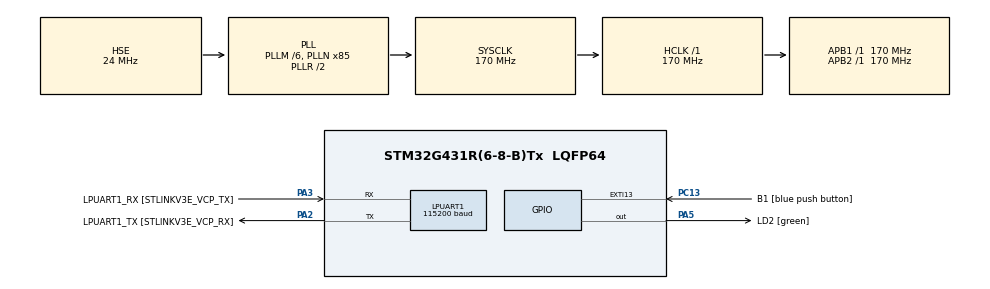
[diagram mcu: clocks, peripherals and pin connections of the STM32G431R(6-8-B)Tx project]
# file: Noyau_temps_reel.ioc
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FREERTOS.Tasks01=defaultTask,0,128,StartDefaultTask,Default,NULL,Dynamic,NULL,NULL
FREERTOS.configTOTAL_HEAP_SIZE=20000
FREERTOS.configUSE_NEWLIB_REENTRANT=1
LPUART1.BaudRate=115200
Mcu.Family=STM32G4
Mcu.Name=STM32G431R(6-8-B)Tx
Mcu.Package=LQFP64
NVIC.PriorityGroup=NVIC_PRIORITYGROUP_4
NVIC.TIM1_UP_TIM16_IRQn=true\:15\:0\:false\:false\:true\:false\:false\:true\:true
NVIC.TimeBase=TIM1_UP_TIM16_IRQn
NVIC.TimeBaseIP=TIM1
PA13.GPIO_Label=T_SWDIO
PA13.Mode=Trace_Asynchronous_SW
PA13.Signal=SYS_JTMS-SWDIO
PA14.GPIO_Label=T_SWCLK
PA14.Mode=Trace_Asynchronous_SW
PA14.Signal=SYS_JTCK-SWCLK
PA2.GPIO_Label=LPUART1_TX [STLINKV3E_VCP_RX]
PA2.Mode=Asynchronous
PA2.Signal=LPUART1_TX
PA3.GPIO_Label=LPUART1_RX [STLINKV3E_VCP_TX]
PA3.Mode=Asynchronous
PA3.Signal=LPUART1_RX
PA5.GPIO_Label=LD2 [green]
PA5.Signal=GPIO_Output
PB3.GPIO_Label=T_SWO
PB3.Mode=Trace_Asynchronous_SW
PB3.Signal=SYS_JTDO-SWO
PC13.GPIO_Label=B1 [blue push button]
PC13.Signal=GPXTI13
PC14-OSC32_IN.GPIO_Label=RCC_OSC32_OUT
PC14-OSC32_IN.Signal=RCC_OSC32_IN
PC15-OSC32_OUT.GPIO_Label=RCC_OSC32_OUT
PC15-OSC32_OUT.Signal=RCC_OSC32_OUT
PF0-OSC_IN.GPIO_Label=RCC_OSC_IN
PF0-OSC_IN.Mode=HSE-External-Oscillator
PF0-OSC_IN.Signal=RCC_OSC_IN
PF1-OSC_OUT.GPIO_Label=RCC_OSC_OUT
PF1-OSC_OUT.Mode=HSE-External-Oscillator
PF1-OSC_OUT.Signal=RCC_OSC_OUT
ProjectManager.HeapSize=0x200
ProjectManager.StackSize=0x400
ProjectManager.TargetToolchain=STM32CubeIDE
RCC.ADC12Freq_Value=170000000
RCC.AHBFreq_Value=170000000
RCC.APB1Freq_Value=170000000
RCC.APB1TimFreq_Value=170000000
RCC.APB2Freq_Value=170000000
RCC.APB2TimFreq_Value=170000000
RCC.CortexFreq_Value=170000000
RCC.EXTERNAL_CLOCK_VALUE=12288000
RCC.HCLKFreq_Value=170000000
RCC.HSE_VALUE=24000000
RCC.HSI48_VALUE=48000000
RCC.HSI_VALUE=16000000
RCC.LSE_VALUE=32768
RCC.PLLM=RCC_PLLM_DIV6
RCC.PLLN=85
RCC.PLLSourceVirtual=RCC_PLLSOURCE_HSE
RCC.RTCClockSelection=RCC_RTCCLKSOURCE_LSE
RCC.SYSCLKFreq_VALUE=170000000
RCC.SYSCLKSource=RCC_SYSCLKSOURCE_PLLCLK
RCC.USBFreq_Value=170000000
RCC.VCOOutputFreq_Value=340000000
VP_FREERTOS_VS_CMSIS_V1.Mode=CMSIS_V1
VP_SYS_VS_DBSignals.Mode=DisableDeadBatterySignals
VP_SYS_VS_tim1.Mode=TIM1
board=NUCLEO-G431RB

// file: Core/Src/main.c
/* USER CODE BEGIN Header */
/**
  ******************************************************************************
  * @file           : main.c
  * @brief          : Main program body
  ******************************************************************************
  * @attention
  *
  * Copyright (c) 2025 STMicroelectronics.
  * All rights reserved.
  *
  * This software is licensed under terms that can be found in the LICENSE file
  * in the root directory of this software component.
  * If no LICENSE file comes with this software, it is provided AS-IS.
  *
  ******************************************************************************
  */
/* USER CODE END Header */
#include "main.h"
#include "cmsis_os.h"
#include "usart.h"
#include "gpio.h"

/* USER CODE BEGIN Includes */
#include <stdio.h>
#include "FreeRTOS.h"
#include "task.h"
#include "queue.h"

/* USER CODE END Includes */

/* USER CODE BEGIN PV */
TaskHandle_t h_task_led;
BaseType_t ret;
//TaskHandle_t h_task_btn;
/* USER CODE END PV */

void SystemClock_Config(void);
void MX_FREERTOS_Init(void);

/* USER CODE BEGIN 0 */
//TaskHandle_t TaskTakeHandle;
//TaskHandle_t TaskGiveHandle;
SemaphoreHandle_t sem_handle;

int __io_putchar(int ch) {
	HAL_UART_Transmit(&hlpuart1, (uint8_t *)&ch, 1, HAL_MAX_DELAY);
	return ch;
}

void task_led(void * unused)
{
	for(;;)
	{
		HAL_GPIO_TogglePin(LD2_GPIO_Port, LD2_Pin);
		vTaskDelay(100);
	}
}

/*void taskGive(void * unused)
{
	uint8_t chr;
    static uint32_t delay = 100;

	for(;;)
	{
		printf("Task GIVE : je vais envoyer une notifiction \r\n");
        xTaskNotifyGive(TaskTakeHandle);
        printf("Task GIVE : je viens d'envoyer une notification \r\n");
		vTaskDelay(pdMS_TO_TICKS(delay));
	}
}

void taskTake(void * unused)
{
	uint8_t chr;
	uint32_t result;
	for(;;)
	{
		printf("Task TAKE : je vais recevoir une notification \r\n");
	    result = ulTaskNotifyTake(pdTRUE, pdMS_TO_TICKS(1000));
        if (result > 0)        {
			printf("Task TAKE : Je viens de recevoir une notification \r\n");
		}
        else
        {
        	printf("Semaphore non reçu en moins d'une seconde \r\n");
            NVIC_SystemReset();
        }
	}
}
*/
void task_bug(void * pvParameters)
{
	int delay = (int) pvParameters;
	for(;;)
	{
		sem_handle = xSemaphoreCreateBinary();
		xSemaphoreTake(sem_handle, 1000);
		printf("Je suis %s et je m'endors pour \%d ticks\r\n", pcTaskGetName(NULL), delay);
		vTaskDelay(delay);
		xSemaphoreGive(sem_handle);

	}
}

/* USER CODE END 0 */

int main(void)
{

  /* MCU Configuration--------------------------------------------------------*/

  /* Reset of all peripherals, Initializes the Flash interface and the Systick. */
  HAL_Init();

  /* USER CODE BEGIN Init */
  printf("=====HELLO WORLD===== \r\n");
  /* USER CODE END Init */

  /* Configure the system clock */
  SystemClock_Config();

  /* Initialize all configured peripherals */
  MX_GPIO_Init();
  MX_LPUART1_UART_Init();
  /* USER CODE BEGIN 2 */
  ret = xTaskCreate(task_bug, "Tache 1", STACK_SIZE, (void *) TASK1_DELAY, TASK1_PRIORITY, NULL);
  configASSERT(pdPASS == ret);
  ret = xTaskCreate(task_bug, "Tache 2", STACK_SIZE, (void *) TASK2_DELAY, TASK2_PRIORITY, NULL);
  configASSERT(pdPASS == ret);
  xTaskCreate(task_led,"LED",256,NULL,1,NULL);
  //xTaskCreate(taskTake,"TAKE",256,NULL,3,&TaskTakeHandle);
  //xTaskCreate(taskGive,"GIVE",256,NULL,2,&TaskGiveHandle);

  vTaskStartScheduler();
  /* USER CODE END 2 */

  /* Call init function for freertos objects (in cmsis_os2.c) */
  MX_FREERTOS_Init();

  /* Start scheduler */
  osKernelStart();

  /* We should never get here as control is now taken by the scheduler */

  /* Infinite loop */
  /* USER CODE BEGIN WHILE */
  while (1)
  {
	  /*if(HAL_GPIO_ReadPin (GPIOC, GPIO_PIN_13))
	  {
		  HAL_GPIO_WritePin(GPIOA, GPIO_PIN_5, GPIO_PIN_SET);
	  }
	  else
	  {
		  HAL_GPIO_WritePin(GPIOA, GPIO_PIN_5, GPIO_PIN_RESET);
	  } */
	  // HAL_Delay(500);
    /* USER CODE END WHILE */

  }
}

void SystemClock_Config(void)
{
  RCC_OscInitTypeDef RCC_OscInitStruct = {0};
  RCC_ClkInitTypeDef RCC_ClkInitStruct = {0};

  /** Configure the main internal regulator output voltage
  */
  HAL_PWREx_ControlVoltageScaling(PWR_REGULATOR_VOLTAGE_SCALE1_BOOST);

  /** Initializes the RCC Oscillators according to the specified parameters
  * in the RCC_OscInitTypeDef structure.
  */
  RCC_OscInitStruct.OscillatorType = RCC_OSCILLATORTYPE_HSE;
  RCC_OscInitStruct.HSEState = RCC_HSE_ON;
  RCC_OscInitStruct.PLL.PLLState = RCC_PLL_ON;
  RCC_OscInitStruct.PLL.PLLSource = RCC_PLLSOURCE_HSE;
  RCC_OscInitStruct.PLL.PLLM = RCC_PLLM_DIV6;
  RCC_OscInitStruct.PLL.PLLN = 85;
  RCC_OscInitStruct.PLL.PLLP = RCC_PLLP_DIV2;
  RCC_OscInitStruct.PLL.PLLQ = RCC_PLLQ_DIV2;
  RCC_OscInitStruct.PLL.PLLR = RCC_PLLR_DIV2;
  if (HAL_RCC_OscConfig(&RCC_OscInitStruct) != HAL_OK)
  {
    Error_Handler();
  }

  /** Initializes the CPU, AHB and APB buses clocks
  */
  RCC_ClkInitStruct.ClockType = RCC_CLOCKTYPE_HCLK|RCC_CLOCKTYPE_SYSCLK
                              |RCC_CLOCKTYPE_PCLK1|RCC_CLOCKTYPE_PCLK2;
  RCC_ClkInitStruct.SYSCLKSource = RCC_SYSCLKSOURCE_PLLCLK;
  RCC_ClkInitStruct.AHBCLKDivider = RCC_SYSCLK_DIV1;
  RCC_ClkInitStruct.APB1CLKDivider = RCC_HCLK_DIV1;
  RCC_ClkInitStruct.APB2CLKDivider = RCC_HCLK_DIV1;

  if (HAL_RCC_ClockConfig(&RCC_ClkInitStruct, FLASH_LATENCY_4) != HAL_OK)
  {
    Error_Handler();
  }
}

void HAL_TIM_PeriodElapsedCallback(TIM_HandleTypeDef *htim)
{
  if (htim->Instance == TIM1)
  {
    HAL_IncTick();
  }
}

void Error_Handler(void)
{
  __disable_irq();
  while (1)
  {
  }
}

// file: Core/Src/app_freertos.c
/* USER CODE BEGIN Header */
/**
  ******************************************************************************
  * File Name          : app_freertos.c
  * Description        : Code for freertos applications
  ******************************************************************************
  * @attention
  *
  * Copyright (c) 2025 STMicroelectronics.
  * All rights reserved.
  *
  * This software is licensed under terms that can be found in the LICENSE file
  * in the root directory of this software component.
  * If no LICENSE file comes with this software, it is provided AS-IS.
  *
  ******************************************************************************
  */
/* USER CODE END Header */

#include "FreeRTOS.h"
#include "task.h"
#include "main.h"
#include "cmsis_os.h"

osThreadId defaultTaskHandle;
QueueHandle_t queueTimer;

void StartDefaultTask(void const * argument);

void MX_FREERTOS_Init(void); /* (MISRA C 2004 rule 8.1) */

void MX_FREERTOS_Init(void) {

  /* USER CODE BEGIN RTOS_QUEUES */
  /* add queues, ... */

	queueTimer = xQueueCreate(10, sizeof(uint32_t));

  /* USER CODE END RTOS_QUEUES */

  /* Create the thread(s) */
  /* definition and creation of defaultTask */
  osThreadDef(defaultTask, StartDefaultTask, osPriorityNormal, 0, 128);
  defaultTaskHandle = osThreadCreate(osThread(defaultTask), NULL);

}

void StartDefaultTask(void const * argument)
{
  for(;;)
  {
    osDelay(1);
  }
}
